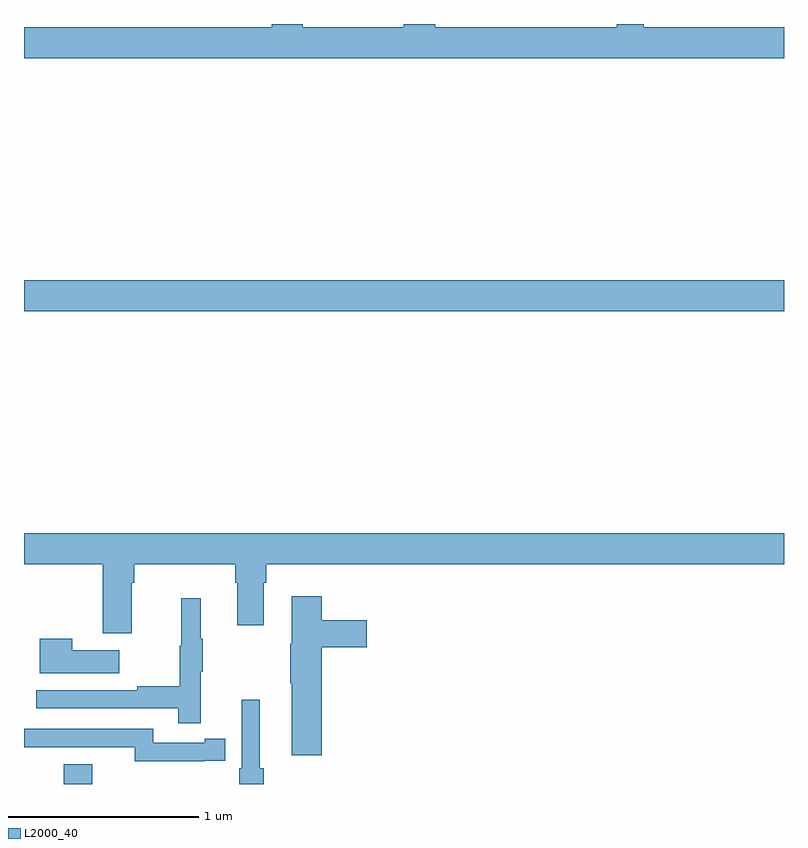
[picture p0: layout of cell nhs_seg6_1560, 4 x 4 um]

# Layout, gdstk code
import gdstk
lib = gdstk.Library(unit=1e-6, precision=1e-09)
def R(c, l, rs):  # rectangles x0, y0, x1, y1
    for r in rs: c.add(gdstk.rectangle(r[:2], r[2:], *l))
def P(c, l, *ps):  # polygons
    for p in ps: c.add(gdstk.Polygon(p, *l))
L2000_40 = (2000, 40)

nhs_seg6_1560 = lib.new_cell('nhs_seg6_1560')
R(nhs_seg6_1560, L2000_40, [(205.208,959.5,205.36,959.605), (205,961.988,209,962.152)])
P(nhs_seg6_1560, L2000_40, [(209,963.484),(208.261,963.484),(208.261,963.5),(208.121,963.5),(208.121,963.484),(207.164,963.484),(207.164,963.5),(206.999,963.5),(206.999,963.484),(206.468,963.484),(206.468,963.5),(206.303,963.5),(206.303,963.484),(205,963.484),(205,963.32),(209,963.32)],
  [(205.567,960.56),(205.58,960.56),(205.58,960.656),(206.111,960.656),(206.111,960.56),(206.123,960.56),(206.123,960.336),(206.263,960.336),(206.263,960.56),(206.276,960.56),(206.276,960.656),(209,960.656),(209,960.82),(205,960.82),(205,960.656),(205.415,960.656),(205.415,960.294),(205.567,960.294)],
  [(206.567,960.221),(206.803,960.221),(206.803,960.363),(206.567,960.363),(206.567,960.487),(206.408,960.487),(206.408,960.237),(206.401,960.237),(206.401,960.031),(206.408,960.031),(206.408,959.652),(206.567,959.652)],
  [(205.931,960.091),(205.942,960.091),(205.942,960.265),(205.931,960.265),(205.931,960.478),(205.828,960.478),(205.828,960.228),(205.821,960.228),(205.821,960.014),(205.597,960.014),(205.597,959.994),(205.065,959.994),(205.065,959.898),(205.813,959.898),(205.813,959.82),(205.931,959.82)],
  [(205.501,960.205),(205.253,960.205),(205.253,960.265),(205.082,960.265),(205.082,960.083),(205.501,960.083)],
  [(206.261,959.584),(206.242,959.584),(206.242,959.944),(206.145,959.944),(206.145,959.584),(206.132,959.584),(206.132,959.5),(206.261,959.5)],
  [(205.952,959.622),(206.06,959.622),(206.06,959.738),(205.952,959.738),(205.952,959.718),(205.68,959.718),(205.68,959.79),(205,959.79),(205,959.693),(205.124,959.693),(205.124,959.694),(205.584,959.694),(205.584,959.621),(205.952,959.621)])

lib.write_gds('nhs_seg6_1560.gds')
